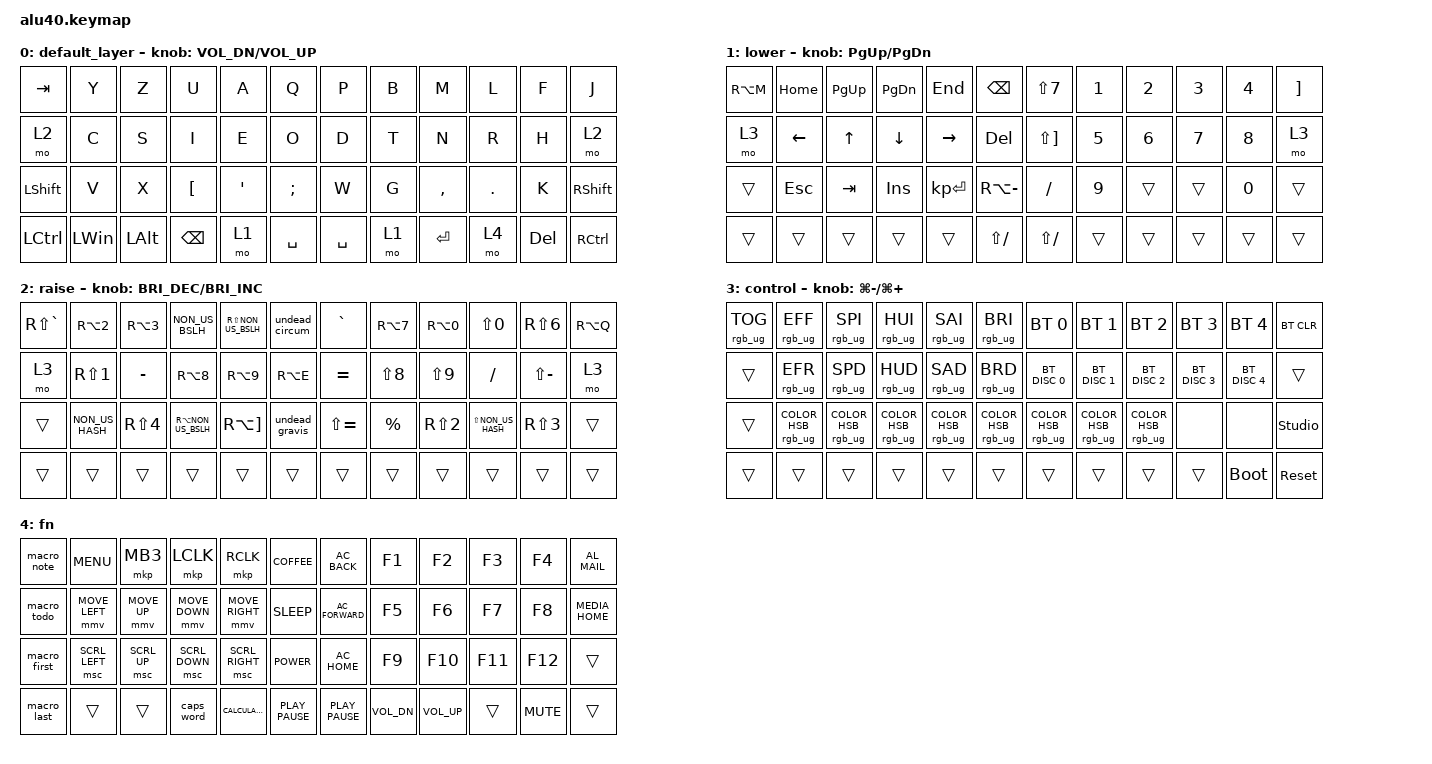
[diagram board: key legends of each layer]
/*
 * Copyright (c) 2022 The ZMK Contributors
 *
 * SPDX-License-Identifier: MIT
 */

#include <behaviors.dtsi>
#include <dt-bindings/zmk/bt.h>
#include <dt-bindings/zmk/keys.h>
#include <dt-bindings/zmk/pointing.h>
#include <dt-bindings/zmk/rgb.h>

/ {
    macros {
        undead_circum: undead_circum {
            compatible = "zmk,behavior-macro";
            #binding-cells = <0>;
            bindings = <&kp GRAVE &kp SPACE>;
            label = "UNDEAD_CIRCUM";
        };

        undead_gravis: undead_gravis {
            compatible = "zmk,behavior-macro";
            #binding-cells = <0>;
            bindings = <&kp LS(EQUAL) &kp SPACE>;
            label = "UNDEAD_GRAVIS";
        };

        macro_note: macro_todo {
            compatible = "zmk,behavior-macro";
            #binding-cells = <0>;
            bindings = <&kt LEFT_SHIFT &kp N &kp O &kp T &kp E &kt LEFT_SHIFT>;
            label = "MACRO_TODO";
        };

        macro_todo: new_macrozz {
            compatible = "zmk,behavior-macro";
            #binding-cells = <0>;
            bindings = <&kt LEFT_SHIFT &kp T &kp O &kp D &kp O &kt LEFT_SHIFT>;
            label = "NEW_MACROZZ";
        };

        macro_first: macro_first {
            compatible = "zmk,behavior-macro";
            #binding-cells = <0>;
            bindings = <&kp LS(C) &kp H &kp R &kp I &kp S &kp T &kp O &kp P &kp H &kp E &kp R>;
            label = "MACRO_FIRST";
        };

        macro_last: macro_last {
            compatible = "zmk,behavior-macro";
            #binding-cells = <0>;
            bindings = <&kp LS(K) &kp A &kp P &kp P &kp E>;
            label = "MACRO_LAST";
        };
    };

    keymap {
        compatible = "zmk,keymap";

        default_layer {
            // -----------------------------------------------------------------------------------------
            // | ESC/~ |  Q   |  W   |  E   |  R   |  T   |   Y   |  U    |  I   |  O   |   P   | BSPC  |
            // | TAB   |  A   |  S   |  D   |  F   |  G   |   H   |  J    |  K   |  L   |   ;   |  '    |
            // | SHIFT |  Z   |  X   |  C   |  V   |  B   |   N   |  M    |  ,   |  .   |   /   |RET/SFT|
            // | PLAY  | LCTL | LGUI | LALT | LOWR |     SPACE    |  RAIS | LARW | UARW | DARW  |  RARW |

            bindings = <
&kp TAB           &kp Y         &kp Z         &kp U             &kp A     &kp Q      &kp P      &kp B  &kp M       &kp L    &kp F       &kp J
&mo 2             &kp C         &kp S         &kp I             &kp E     &kp O      &kp D      &kp T  &kp N       &kp R    &kp H       &mo 2
&kp LSHFT         &kp V         &kp X         &kp LEFT_BRACKET  &kp APOS  &kp SEMI   &kp W      &kp G  &kp COMMA   &kp DOT  &kp K       &kp RSHFT
&kp LEFT_CONTROL  &kp LEFT_WIN  &kp LEFT_ALT  &kp BACKSPACE     &mo 1     &kp SPACE  &kp SPACE  &mo 1  &kp RETURN  &mo 4    &kp DELETE  &kp RIGHT_CONTROL
            >;

            sensor-bindings = <&inc_dec_kp C_VOL_DN C_VOL_UP>;
        };

        lower {
            bindings = <
&kp RA(M)  &kp HOME    &kp PAGE_UP   &kp PAGE_DOWN  &kp END       &kp BACKSPACE  &kp LS(N7)             &kp NUMBER_1  &kp NUMBER_2  &kp NUMBER_3  &kp NUMBER_4  &kp RIGHT_BRACKET
&mo 3      &kp LEFT    &kp UP_ARROW  &kp DOWN       &kp RIGHT     &kp DELETE     &kp LS(RIGHT_BRACKET)  &kp N5        &kp NUMBER_6  &kp N7        &kp N8        &mo 3
&trans     &kp ESCAPE  &kp TAB       &kp INS        &kp KP_ENTER  &kp RA(MINUS)  &kp SLASH              &kp N9        &trans        &trans        &kp N0        &trans
&trans     &trans      &trans        &trans         &trans        &kp LS(SLASH)  &kp LS(SLASH)          &trans        &trans        &trans        &trans        &trans
            >;

            sensor-bindings = <&inc_dec_kp PG_UP PG_DN>;
        };

        raise {
            bindings = <
&kp RS(GRAVE)  &kp RA(NUMBER_2)  &kp RA(NUMBER_3)  &kp NON_US_BSLH      &kp RS(NON_US_BSLH)    &undead_circum  &kp GRAVE      &kp RA(N7)   &kp RA(N0)        &kp LS(N0)           &kp RS(NUMBER_6)  &kp RA(Q)
&mo 3          &kp RS(NUMBER_1)  &kp MINUS         &kp RA(N8)           &kp RA(N9)             &kp RA(E)       &kp EQUAL      &kp LS(N8)   &kp LS(N9)        &kp SLASH            &kp LS(MINUS)     &mo 3
&trans         &kp NON_US_HASH   &kp RS(NUMBER_4)  &kp RA(NON_US_BSLH)  &kp RA(RIGHT_BRACKET)  &undead_gravis  &kp LS(EQUAL)  &kp PERCENT  &kp RS(NUMBER_2)  &kp LS(NON_US_HASH)  &kp RS(NUMBER_3)  &trans
&trans         &trans            &trans            &trans               &trans                 &trans          &trans         &trans       &trans            &trans               &trans            &trans
            >;

            sensor-bindings = <&inc_dec_kp C_BRI_DEC C_BRI_INC>;
        };

        control {
            bindings = <
&rgb_ug RGB_TOG  &rgb_ug RGB_EFF  &rgb_ug RGB_SPI  &rgb_ug RGB_HUI                  &rgb_ug RGB_SAI  &rgb_ug RGB_BRI  &bt BT_SEL 0   &bt BT_SEL 1   &bt BT_SEL 2   &bt BT_SEL 3   &bt BT_SEL 4   &bt BT_CLR
&trans           &rgb_ug RGB_EFR  &rgb_ug RGB_SPD  &rgb_ug RGB_HUD                  &rgb_ug RGB_SAD  &rgb_ug RGB_BRD  &bt BT_DISC 0  &bt BT_DISC 1  &bt BT_DISC 2  &bt BT_DISC 3  &bt BT_DISC 4  &trans
&trans  &rgb_ug RGB_COLOR_HSB(25,78,68)  &rgb_ug RGB_COLOR_HSB(85,100,39)  &rgb_ug RGB_COLOR_HSB(145,38,54)  &rgb_ug RGB_COLOR_HSB(205,100,40)  &rgb_ug RGB_COLOR_HSB(265,95,71)  &rgb_ug RGB_COLOR_HSB(325,48,65)  &rgb_ug RGB_COLOR_HSB(0,0,62)  &rgb_ug RGB_COLOR_HSB(0,0,100)  &none  &none  &studio_unlock
&trans           &trans           &trans           &trans                           &trans           &trans           &trans         &trans         &trans         &trans         &bootloader    &sys_reset
            >;

            sensor-bindings = <&inc_dec_kp LG(MINUS) LG(PLUS)>;
        };

        fn {
            bindings = <
&macro_note   &kp K_MENU      &mkp MB3      &mkp LCLK       &mkp RCLK         &kp K_COFFEE      &kp C_AC_BACK     &kp F1        &kp F2        &kp F3   &kp F4      &kp C_AL_MAIL
&macro_todo   &mmv MOVE_LEFT  &mmv MOVE_UP  &mmv MOVE_DOWN  &mmv MOVE_RIGHT   &kp K_SLEEP       &kp C_AC_FORWARD  &kp F5        &kp F6        &kp F7   &kp F8      &kp C_MEDIA_HOME
&macro_first  &msc SCRL_LEFT  &msc SCRL_UP  &msc SCRL_DOWN  &msc SCRL_RIGHT   &kp K_POWER       &kp C_AC_HOME     &kp F9        &kp F10       &kp F11  &kp F12     &trans
&macro_last   &trans          &trans        &caps_word      &kp K_CALCULATOR  &kp K_PLAY_PAUSE  &kp K_PLAY_PAUSE  &kp C_VOL_DN  &kp C_VOL_UP  &trans   &kp K_MUTE  &trans
            >;
        };
    };
};
